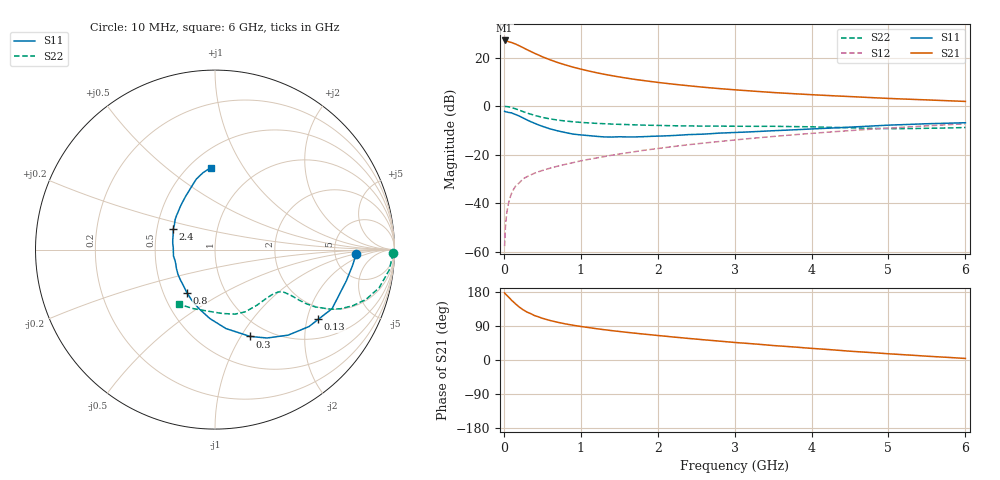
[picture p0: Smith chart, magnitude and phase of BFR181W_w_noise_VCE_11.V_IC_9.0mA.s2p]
! Infineon Technologies  Discrete & RF Semiconductors
! BFR181W
! VCE =  11. V,  IC =  9.0 mA
! Common Emitter S-Parameters:  Jan 2017
# GHz  S  MA  R  50
!  f  S11  S21  S12  S22
! GHz  MAG  ANG  MAG  ANG  MAG  ANG  MAG  ANG
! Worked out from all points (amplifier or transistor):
!   77 points, 10 MHz to 6 GHz, reference 50 ohm
!   highest |S21| = 27.1 dB at 10 MHz (marker M1)
!   |S21| within 3 dB of that: start of sweep to 252.6 MHz
!   unconditionally stable (mu >= 1): 1.131 GHz to 3.163 GHz
!   at 130 MHz: K = 0.24, MSG = 30.0 dB, |S12| = -34.1 dB
!   at 2.2 GHz: K = 1.06, MAG = 11.4 dB, |S12| = -16.7 dB
!   at 6 GHz: K = 0.86, MSG = 4.6 dB, |S12| = -7.3 dB
!   lowest NFmin = 1.18 dB at 450 MHz
!   S11 on the Smith chart (normalised r, x): 10 MHz: 8.31, -0.96; 130 MHz: 1.57, -2.35; 300 MHz: 0.83, -1.10; 800 MHz: 0.66, -0.34; 2.4 GHz: 0.61, +0.15; 6 GHz: 0.63, +0.73
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0.01  0.7877 -1.6  22.66 177.1  0.0013 84.5  0.9925 -1.2
0.02  0.7716 -6.6  22.2 174.4  0.0031 92.9  0.9882 -2.5
0.04  0.7573 -11.1  21.84 170.4  0.0065 80.5  0.98 -5.4
0.05  0.752 -13.4  21.69 168.4  0.0083 78.2  0.9768 -6.8
0.1  0.7307 -26.7  20.57 157.8  0.0159 77.1  0.9388 -13.1
0.13  0.6943 -34.0  19.68 152.3  0.0197 73.9  0.906 -16.1
0.15  0.6769 -39.3  19.2 148.4  0.0222 72.4  0.8857 -18.3
0.2  0.6269 -49.5  17.6 139.8  0.0262 69.6  0.8281 -22.2
0.25  0.5716 -59.5  16.12 132.6  0.0318 65.1  0.7739 -25.2
0.3  0.5212 -68.1  14.65 126.6  0.0351 63.0  0.7241 -27.3
0.4  0.4442 -82.1  12.31 117.1  0.0416 61.2  0.6458 -29.7
0.5  0.3855 -94.2  10.45 110.1  0.0473 61.1  0.5886 -30.7
0.6  0.341 -105.2  9.057 104.3  0.0527 60.6  0.5476 -31.0
0.8  0.2861 -123.3  7.094 95.3  0.0633 62.6  0.4948 -31.1
1.1  0.2477 -146.7  5.33 85.7  0.08 64.6  0.4532 -31.7
1.5  0.2341 -171.1  4.009 75.3  0.1033 65.7  0.4221 -34.2
2.1  0.2443 163.4  2.969 62.8  0.1404 65.5  0.3982 -41.4
2.4  0.2595 153.5  2.639 56.9  0.1605 64.7  0.3918 -46.2
3.1  0.291 135.8  2.121 44.8  0.2082 61.9  0.3854 -57.7
4.1  0.3449 117.2  1.694 29.3  0.2825 55.9  0.3719 -74.7
5.1  0.4119 103.5  1.425 15.2  0.3609 48.1  0.3446 -98.9
6  0.4559 93.0  1.254 4.1  0.4337 40.0  0.364 -123.2
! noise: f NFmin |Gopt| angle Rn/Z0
0.45  1.18  0.17  16  0.21
0.9  1.23  0.16  31  0.21
1.9  1.65  0.05  107  0.2
2.4  1.82  0.03  116  0.23
